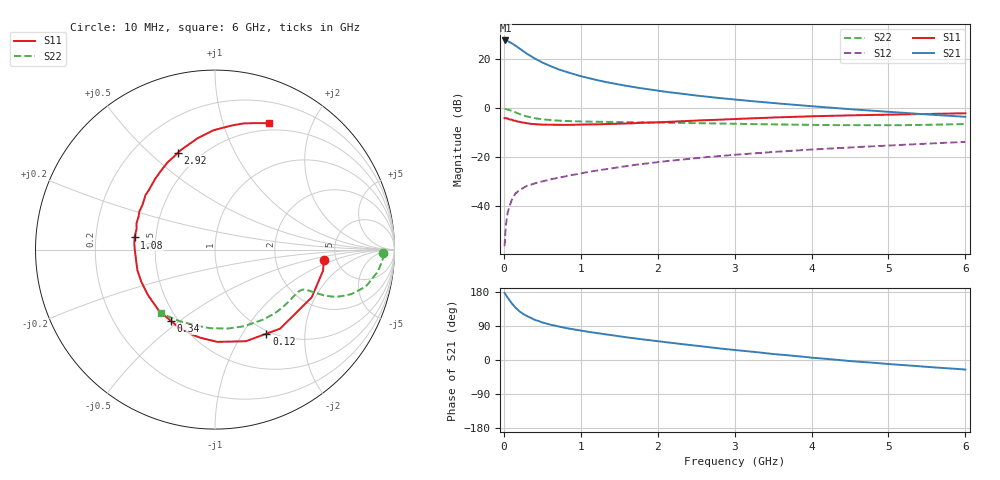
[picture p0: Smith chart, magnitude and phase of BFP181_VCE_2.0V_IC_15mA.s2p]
! Infineon Technologies  Discrete & RF Semiconductors
! BFP181
! VCE = 2.0 V,  IC =  15 mA
! Common Emitter S-Parameters:  Jan 2016
# GHz  S  MA  R  50
!  f  S11  S21  S12  S22
! GHz  MAG  ANG  MAG  ANG  MAG  ANG  MAG  ANG
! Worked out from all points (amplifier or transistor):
!   210 points, 10 MHz to 6 GHz, reference 50 ohm
!   highest |S21| = 27.4 dB at 20 MHz (marker M1)
!   |S21| within 3 dB of that: start of sweep to 191.3 MHz
!   unconditionally stable (mu >= 1): start of sweep to 11.48 MHz; 540.2 MHz to end of sweep
!   at 185 MHz: K = 0.48, MSG = 29.3 dB, |S12| = -34.1 dB
!   at 1.52 GHz: K = 1.47, MAG = 12.7 dB, |S12| = -24.2 dB
!   at 6 GHz: K = 1.15, MAG = 2.8 dB, |S12| = -14.0 dB
!   S11 on the Smith chart (normalised r, x): 10 MHz: 3.98, -0.73; 120 MHz: 0.96, -1.29; 340 MHz: 0.46, -0.47; 1.08 GHz: 0.38, +0.06; 2.92 GHz: 0.38, +0.62; 6 GHz: 0.42, +1.43
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0.01  0.6092 -5.4  23.29 176.8  0.0015 83.4  0.9376 -1.3
0.02  0.6133 -11.0  23.32 173.9  0.0029 83.1  0.9379 -2.9
0.05  0.601 -26.2  22.71 164.2  0.0072 79.3  0.9167 -7.6
0.1  0.5707 -50.5  20.62 150.1  0.0127 67.0  0.8647 -13.8
0.12  0.5491 -58.5  19.61 145.7  0.0147 64.2  0.838 -15.4
0.15  0.5386 -71.4  18.34 138.2  0.0177 61.2  0.7994 -18.1
0.2  0.5143 -88.6  16.16 128.9  0.0207 56.3  0.7424 -20.6
0.24  0.4978 -99.4  14.51 123.1  0.0225 54.0  0.705 -21.8
0.3  0.4796 -114.6  12.51 115.6  0.0254 51.4  0.6576 -22.8
0.34  0.4674 -121.5  11.49 112.3  0.0266 50.7  0.6372 -23.0
0.4  0.4625 -132.3  10.05 106.1  0.0285 49.7  0.6066 -23.3
0.6  0.448 -156.4  7.074 93.5  0.0342 49.6  0.5566 -23.8
0.8  0.4435 -172.1  5.402 84.5  0.0394 51.1  0.534 -24.8
1.02  0.4513 174.4  4.295 76.9  0.0461 52.8  0.5208 -26.7
1.08  0.4526 171.4  4.076 74.8  0.0483 53.0  0.5183 -27.4
1.5  0.472 153.2  2.941 62.3  0.0609 53.4  0.5068 -32.6
2.02  0.5028 134.9  2.182 49.0  0.0782 52.1  0.4949 -40.6
2.92  0.5776 110.9  1.5 28.1  0.1067 47.0  0.4702 -57.0
3.1  0.593 106.9  1.41 24.5  0.1122 45.8  0.4641 -60.6
4.1  0.67 89.1  1.037 4.6  0.1425 38.3  0.4426 -83.2
5.1  0.7235 76.4  0.8 -12.0  0.1719 30.7  0.4373 -108.1
6  0.7655 66.9  0.649 -25.2  0.1998 22.9  0.4635 -130.2
